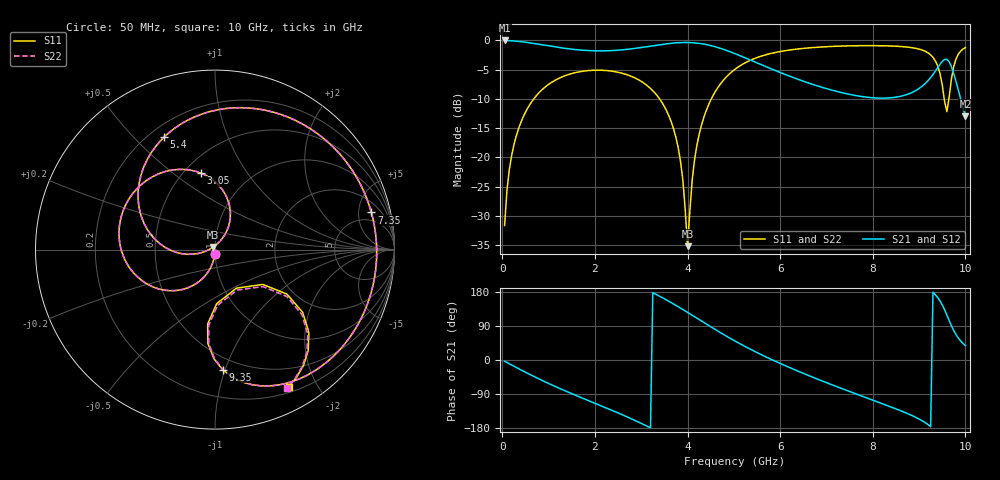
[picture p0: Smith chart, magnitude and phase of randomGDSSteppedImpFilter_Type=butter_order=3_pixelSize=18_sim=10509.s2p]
! freq	dB(S11)	phase(S11)	dB(S12)	phase(S12)
!  dB(S21)	phase(S21)	dB(S22)	phase(S22)
!S-par simulation data
#  GHz  S  DB  R 50
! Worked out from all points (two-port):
!   200 points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, 50 MHz to 10 GHz, reference 50 ohm
!   highest |S21| = -0.01 dB at 50 MHz (marker M1); lowest = -13.0 dB at 10 GHz (marker M2)
!   |S21| within 3 dB of the highest: start of sweep to 5.254 GHz
!   lowest |S11| = -35.2 dB at 4 GHz (marker M3), VSWR 1.04, Z = 49.1 + j1.45 ohm
!   |S11| at or under -10 dB: start of sweep to 680.6 MHz; 3.397 GHz to 4.513 GHz (1.117 GHz wide, 28.2 % of centre); 9.543 GHz to 9.643 GHz (100.2 MHz wide, 1.04 % of centre)
!   |S22| runs from -35.4 to -0.9 dB; largest |S21 - S12| = 0
!   S11 on the Smith chart (normalised r, x): 50 MHz: 1.00, -0.05; 3.05 GHz: 0.60, +0.63; 5.4 GHz: 0.26, +0.62; 7.35 GHz: 3.33, +6.95; 9.35 GHz: 0.40, -0.98; 10 GHz: 0.27, -1.64
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0.05  -31.65 -93.3  -0.01 -3.3  -0.01 -3.3  -31.65 -93.3
0.2  -19.77 -103.5  -0.07 -13.2  -0.07 -13.2  -19.77 -103.5
0.5  -12.29 -122.8  -0.31 -32.3  -0.31 -32.3  -12.29 -122.8
1.05  -7.24 -155.2  -1.00 -64.7  -1.00 -64.7  -7.25 -155.3
1.75  -5.26 168.0  -1.69 -101.6  -1.69 -101.6  -5.26 168.0
3.05  -7.27 100.5  -1.16 -170.1  -1.16 -170.1  -7.27 100.3
3.4  -10.04 79.8  -0.74 168.1  -0.74 168.1  -10.04 79.6
3.8  -18.40 57.5  -0.40 140.5  -0.40 140.5  -18.41 57.2
4  -35.18 122.1  -0.36 125.7  -0.36 125.7  -35.39 121.9
4.1  -23.92 -168.4  -0.39 118.2  -0.39 118.2  -23.93 -168.2
4.3  -14.53 -173.1  -0.56 102.9  -0.56 102.9  -14.53 -173.1
5.05  -4.78 136.4  -2.34 48.3  -2.34 48.3  -4.78 136.2
5.4  -3.24 114.3  -3.50 25.7  -3.50 25.7  -3.24 114.1
6  -1.90 80.0  -5.49 -9.1  -5.49 -9.1  -1.90 79.8
6.7  -1.23 44.1  -7.51 -45.3  -7.51 -45.3  -1.23 43.9
7.35  -0.96 13.4  -8.97 -76.2  -8.97 -76.2  -0.96 13.2
8.35  -0.94 -31.2  -9.84 -121.7  -9.84 -121.7  -0.94 -31.3
9.35  -3.48 -86.4  -5.28 172.4  -5.28 172.4  -3.46 -86.1
9.5  -7.59 -95.6  -3.59 145.4  -3.59 145.4  -7.48 -94.7
9.65  -9.63 -36.1  -3.66 104.0  -3.66 104.0  -9.42 -37.6
9.8  -3.13 -41.4  -7.11 66.4  -7.11 66.4  -3.10 -42.4
10  -1.24 -61.8  -13.00 38.0  -13.00 38.0  -1.23 -62.4
